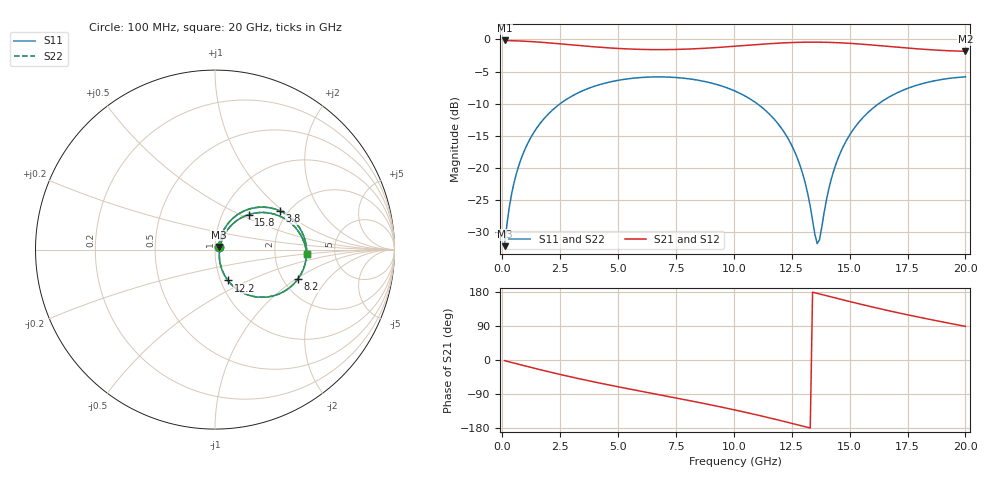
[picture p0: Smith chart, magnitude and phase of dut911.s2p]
! Touchstone file exported from HFSS 2026.1.0
!  File:  C:/ffzhzh/LocalFiles/Ansys_Project_Files/temp_train_TSV_RDL_911_1783278015_38820.aedt
!  Generated:  03:12:00 AM Jul  6, 2026
!  Design:  TSV_RDL
!  Project:  temp_train_TSV_RDL_911_1783278015_38820
! Variables:
!  h_bsmrdl = 3.44um
!  h_ox = 20um
!  h_rdl = 5um
!  h_sub = 89.05um
!  h_tmrdl = 4.85um
!  h_tsv = 89.05um
!  h_via = 3um
!  l_bsmrdl = 661.38um
!  l_sub = 4490.99um
!  l_tmrdl = 491.56um
!  m_sub = 200um
!  pitch = 47.95um
!  r_tsv = 6.03um
!  s_tmrdl = 10um
!  w_bsmrdl = 17.65um
!  w_sub = 500um
!  w_tmrdl = 29.22um
!  x_tsv_center1 = 506.17um
!  x_tsv_center2 = 1185.2um
!  x_tsv_center3 = 1705.98um
!  x_tsv_center4 = 2385.01um
!  x_tsv_center5 = 2905.79um
!  x_tsv_center6 = 3584.82um
# GHz S MA R 50.000000
! Terminal data exported
! Port[1] = TM_RDL1_1_T1
! Port[2] = TM_RDL5_1_T1
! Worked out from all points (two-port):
!   200 points, 100 MHz to 20 GHz, reference 50 ohm
!   highest |S21| = -0.17 dB at 100 MHz (marker M1); lowest = -1.9 dB at 20 GHz (marker M2)
!   |S21| within 3 dB of the highest: start of sweep to end of sweep
!   lowest |S11| = -32.1 dB at 100 MHz (marker M3), VSWR 1.05, Z = 52 + j1.56 ohm
!   |S11| at or under -10 dB: start of sweep to 2.5 GHz; 11.01 GHz to 16.26 GHz (5.25 GHz wide, 38.5 % of centre)
!   |S22| runs from -32.1 to -5.8 dB; largest |S21 - S12| = 2.6e-14
!   S11 on the Smith chart (normalised r, x): 100 MHz: 1.04, +0.03; 3.8 GHz: 1.81, +0.95; 8.2 GHz: 2.39, -1.04; 12.2 GHz: 1.08, -0.39; 15.8 GHz: 1.33, +0.56; 20 GHz: 3.08, -0.21
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0.1  0.02469 37.5  0.9807 -1.7  0.9807 -1.7  0.02469 37.5
! Gamma 0 0 0 0
! Port Impedance 50 0 50 0
0.3  0.04932 60.1  0.9782 -4.9  0.9782 -4.9  0.04932 60.1
0.5  0.07589 65.3  0.9756 -8.1  0.9756 -8.1  0.07589 65.3
1.1  0.1556 63.9  0.9647 -17.4  0.9647 -17.4  0.1556 63.9
2.1  0.2751 52.3  0.9364 -32.4  0.9364 -32.4  0.2751 52.3
3.5  0.4008 34.5  0.8896 -51.8  0.8896 -51.8  0.4007 34.5
3.8  0.421 30.8  0.8803 -55.7  0.8803 -55.7  0.421 30.8
6.8  0.511 -3.9  0.8322 -92.0  0.8322 -92.0  0.5109 -3.9
8.2  0.4897 -19.7  0.8432 -108.5  0.8432 -108.5  0.4897 -19.7
10.1  0.3929 -42.2  0.886 -132.6  0.886 -132.6  0.3929 -42.2
11.3  0.2872 -57.0  0.9195 -149.3  0.9195 -149.3  0.2872 -57.0
12.2  0.1866 -67.2  0.9401 -162.6  0.9401 -162.6  0.1865 -67.2
12.9  0.09955 -70.6  0.9495 -173.3  0.9495 -173.3  0.09947 -70.6
13.4  0.03938 -52.4  0.9517 178.9  0.9517 178.9  0.03927 -52.5
13.6  0.02584 -12.9  0.9514 175.8  0.9514 175.8  0.02573 -12.8
13.7  0.02766 14.4  0.951 174.3  0.951 174.3  0.02759 14.6
14.1  0.06867 54.4  0.9477 168.1  0.9477 168.1  0.06869 54.5
14.5  0.1188 57.9  0.9419 161.9  0.9419 161.9  0.1188 57.9
15.8  0.2707 46.1  0.9095 142.5  0.9095 142.5  0.2707 46.2
16.7  0.3559 35.2  0.881 129.9  0.881 129.9  0.356 35.2
18.2  0.4559 17.4  0.8373 110.4  0.8373 110.4  0.4559 17.4
20  0.5114 -2.9  0.8076 88.8  0.8076 88.8  0.5114 -2.9
